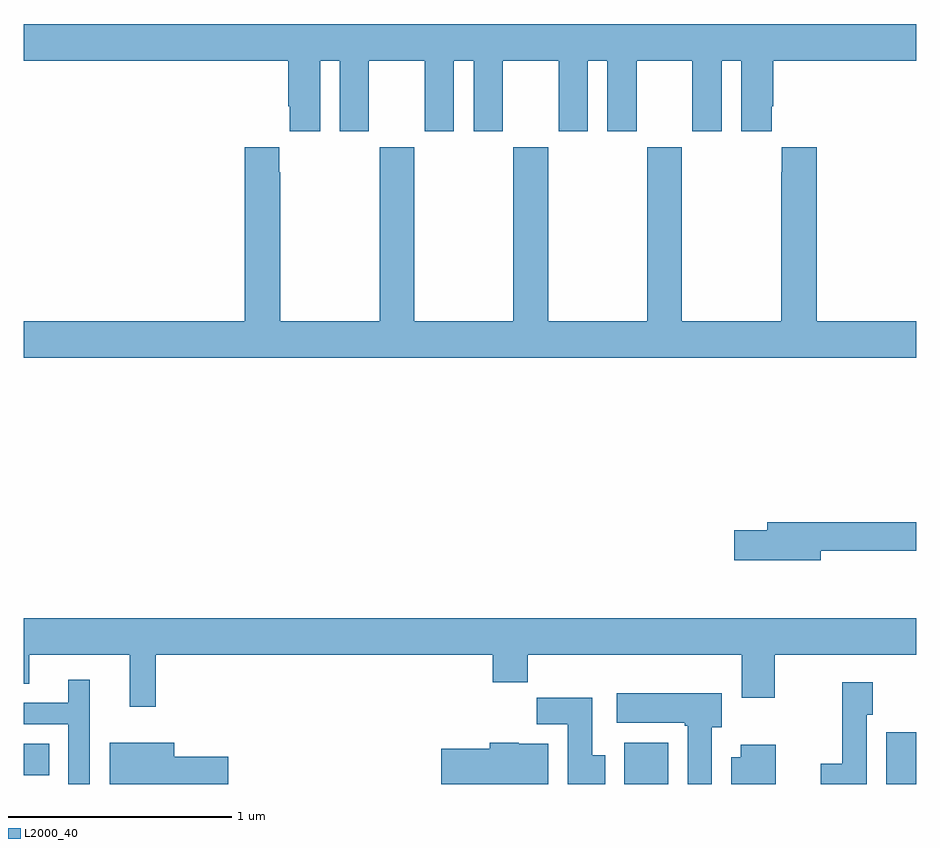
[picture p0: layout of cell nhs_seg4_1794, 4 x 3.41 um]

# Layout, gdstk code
import gdstk
lib = gdstk.Library(unit=1e-6, precision=1e-09)
def R(c, l, rs):  # rectangles x0, y0, x1, y1
    for r in rs: c.add(gdstk.rectangle(r[:2], r[2:], *l))
def P(c, l, *ps):  # polygons
    for p in ps: c.add(gdstk.Polygon(p, *l))
L2000_40 = (2000, 40)

nhs_seg4_1794 = lib.new_cell('nhs_seg4_1794')
R(nhs_seg4_1794, L2000_40, [(205.691,802.9,205.888,803.086), (206.867,802.9,207,803.131), (203,802.94,203.114,803.08)])
P(nhs_seg4_1794, L2000_40, [(204.328,806.144),(204.416,806.144),(204.416,805.827),(204.547,805.827),(204.547,806.144),(204.797,806.144),(204.797,805.827),(204.928,805.827),(204.928,806.144),(205.016,806.144),(205.016,805.827),(205.147,805.827),(205.147,806.144),(205.397,806.144),(205.397,805.827),(205.528,805.827),(205.528,806.144),(205.616,806.144),(205.616,805.827),(205.747,805.827),(205.747,806.144),(205.997,806.144),(205.997,805.827),(206.128,805.827),(206.128,806.144),(206.216,806.144),(206.216,805.827),(206.353,805.827),(206.353,805.939),(206.36,805.939),(206.36,806.144),(207,806.144),(207,806.308),(203,806.308),(203,806.144),(204.185,806.144),(204.185,805.939),(204.191,805.939),(204.191,805.827),(204.328,805.827)],
  [(207,804.976),(206.555,804.976),(206.555,805.756),(206.399,805.756),(206.399,805.643),(206.395,805.643),(206.395,804.976),(205.95,804.976),(205.95,805.756),(205.795,805.756),(205.795,804.976),(205.35,804.976),(205.35,805.756),(205.195,805.756),(205.195,804.976),(204.75,804.976),(204.75,805.756),(204.595,805.756),(204.595,804.976),(204.15,804.976),(204.15,805.643),(204.145,805.643),(204.145,805.756),(203.99,805.756),(203.99,804.976),(203,804.976),(203,804.812),(207,804.812)],
  [(206.572,803.946),(207,803.946),(207,804.074),(206.333,804.074),(206.333,804.038),(206.184,804.038),(206.184,803.903),(206.572,803.903)],
  [(203.591,803.48),(205.103,803.48),(205.103,803.356),(205.259,803.356),(205.259,803.48),(206.219,803.48),(206.219,803.286),(206.367,803.286),(206.367,803.48),(207,803.48),(207,803.644),(203,803.644),(203,803.35),(203.023,803.35),(203.023,803.48),(203.474,803.48),(203.474,803.247),(203.591,803.247)],
  [(203.295,803.368),(203.198,803.368),(203.198,803.265),(203,803.265),(203,803.169),(203.199,803.169),(203.199,802.9),(203.295,802.9)],
  [(206.778,803.211),(206.805,803.211),(206.805,803.356),(206.67,803.356),(206.67,802.99),(206.573,802.99),(206.573,802.9),(206.778,802.9)],
  [(206.083,803.154),(206.128,803.154),(206.128,803.308),(205.659,803.308),(205.659,803.174),(205.963,803.174),(205.963,803.161),(205.976,803.161),(205.976,802.9),(206.083,802.9)],
  [(205.606,803.028),(205.549,803.028),(205.549,803.287),(205.3,803.287),(205.3,803.168),(205.439,803.168),(205.439,802.9),(205.606,802.9)],
  [(205.351,803.08),(205.218,803.08),(205.218,803.086),(205.088,803.086),(205.088,803.058),(204.87,803.058),(204.87,802.9),(205.351,802.9)],
  [(203.917,803.022),(203.674,803.022),(203.674,803.086),(203.385,803.086),(203.385,802.9),(203.917,802.9)],
  [(206.371,803.077),(206.213,803.077),(206.213,803.02),(206.171,803.02),(206.171,802.9),(206.371,802.9)])

lib.write_gds('nhs_seg4_1794.gds')
